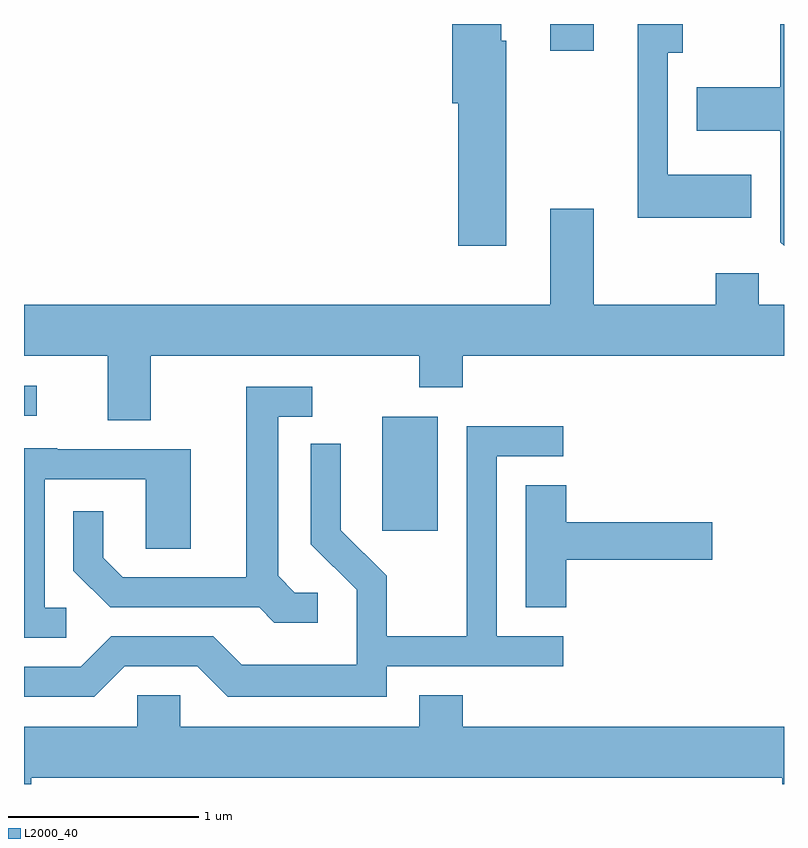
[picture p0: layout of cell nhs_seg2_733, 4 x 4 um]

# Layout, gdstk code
import gdstk
lib = gdstk.Library(unit=1e-6, precision=1e-09)
def R(c, l, rs):  # rectangles x0, y0, x1, y1
    for r in rs: c.add(gdstk.rectangle(r[:2], r[2:], *l))
def P(c, l, *ps):  # polygons
    for p in ps: c.add(gdstk.Polygon(p, *l))
L2000_40 = (2000, 40)

nhs_seg2_733 = lib.new_cell('nhs_seg2_733')
R(nhs_seg2_733, L2000_40, [(207.496,1085.136,207.789,1085.734), (205.611,1085.741,205.678,1085.899), (208.381,1087.661,208.609,1087.802)])
P(nhs_seg2_733, L2000_40, [(209.611,1087.802),(209.591,1087.802),(209.591,1087.469),(209.151,1087.469),(209.151,1087.241),(209.591,1087.241),(209.591,1086.654),(209.611,1086.634)],
  [(208.149,1087.714),(208.124,1087.714),(208.124,1087.802),(207.866,1087.802),(207.866,1087.386),(207.896,1087.386),(207.896,1086.636),(208.149,1086.636)],
  [(209.439,1087.009),(208.999,1087.009),(208.999,1087.651),(209.078,1087.651),(209.078,1087.802),(208.841,1087.802),(208.841,1086.781),(209.439,1086.781)],
  [(206.279,1086.056),(207.691,1086.056),(207.691,1085.891),(207.919,1085.891),(207.919,1086.056),(209.611,1086.056),(209.611,1086.324),(209.479,1086.324),(209.479,1086.489),(209.251,1086.489),(209.251,1086.324),(208.609,1086.324),(208.609,1086.829),(208.381,1086.829),(208.381,1086.324),(205.611,1086.324),(205.611,1086.056),(206.051,1086.056),(206.051,1085.716),(206.279,1085.716)],
  [(207.158,1084.809),(207.037,1084.809),(206.949,1084.897),(206.949,1085.736),(207.128,1085.736),(207.128,1085.894),(206.781,1085.894),(206.781,1084.889),(206.132,1084.889),(206.029,1084.992),(206.029,1085.238),(205.871,1085.238),(205.871,1084.924),(206.064,1084.731),(206.849,1084.731),(206.929,1084.651),(207.158,1084.651)],
  [(206.142,1084.421),(206.524,1084.421),(206.684,1084.261),(207.519,1084.261),(207.519,1084.421),(208.448,1084.421),(208.448,1084.579),(208.099,1084.579),(208.099,1085.526),(208.448,1085.526),(208.448,1085.684),(207.941,1085.684),(207.941,1084.579),(207.519,1084.579),(207.519,1084.897),(207.279,1085.137),(207.279,1085.593),(207.121,1085.593),(207.121,1085.064),(207.361,1084.824),(207.361,1084.429),(206.757,1084.429),(206.607,1084.579),(206.069,1084.579),(205.909,1084.419),(205.611,1084.419),(205.611,1084.261),(205.982,1084.261)],
  [(205.833,1084.729),(205.719,1084.729),(205.719,1085.406),(206.251,1085.406),(206.251,1085.041),(206.489,1085.041),(206.489,1085.564),(205.785,1085.564),(205.785,1085.569),(205.611,1085.569),(205.611,1084.571),(205.833,1084.571)],
  [(208.464,1084.981),(209.234,1084.981),(209.234,1085.179),(208.464,1085.179),(208.464,1085.374),(208.251,1085.374),(208.251,1084.731),(208.464,1084.731)],
  [(205.649,1083.836),(209.601,1083.836),(209.601,1083.802),(209.611,1083.802),(209.611,1084.104),(207.919,1084.104),(207.919,1084.269),(207.691,1084.269),(207.691,1084.104),(206.434,1084.104),(206.434,1084.269),(206.206,1084.269),(206.206,1084.104),(205.611,1084.104),(205.611,1083.802),(205.649,1083.802)])

lib.write_gds('nhs_seg2_733.gds')
